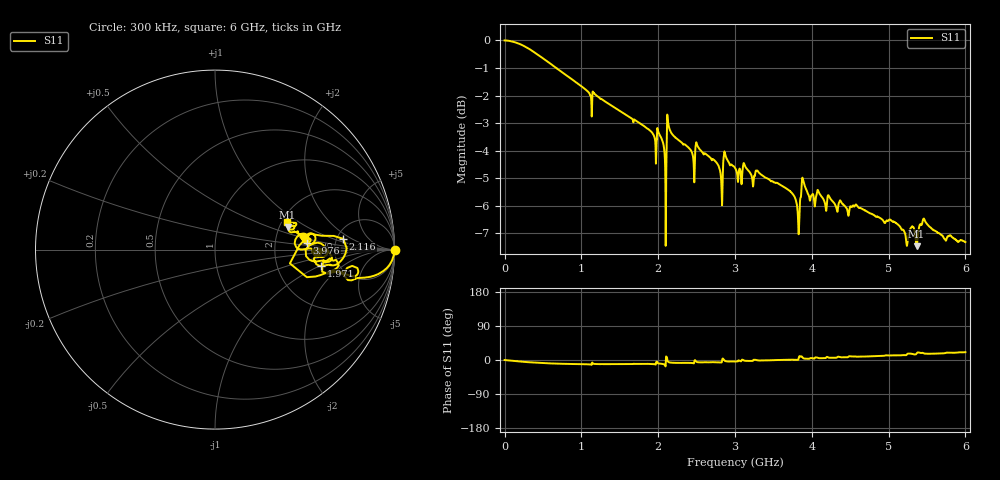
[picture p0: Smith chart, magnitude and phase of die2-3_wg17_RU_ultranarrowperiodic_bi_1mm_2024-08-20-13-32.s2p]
!Keysight Technologies,P9374A,MY57304198,A.17.20.09
!Date: Tuesday, August 20, 2024 13:32:10
!Correction: S11(C  1-Port  )
!S21(C  1-Port  )
!S12(Off)
!S22(Off)
!S2P File: Measurements: S11, S21, S12, S22:
# Hz S  dB  R 50
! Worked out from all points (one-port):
!   6000 points, 300 kHz to 6 GHz, reference 50 ohm
!   lowest |S11| = -7.5 dB at 5.365 GHz (marker M1), VSWR 2.47, Z = 111 + j33.8 ohm
!   |S11| at or under -10 dB: nowhere
!   S11 on the Smith chart (normalised r, x): 300 kHz: open; 1.971 GHz: 3.67, -1.02; 2.116 GHz: 5.71, +1.41; 3.976 GHz: 3.07, +0.31; 6 GHz: 2.15, +0.80
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300000  0.00 -0.0  -200.00 45.0  -200.00 45.0  -200.00 45.0
4.323504e8  -0.52 -7.4  -200.00 45.0  -200.00 45.0  -200.00 45.0
1.000417e9  -1.66 -11.0  -200.00 45.0  -200.00 45.0  -200.00 45.0
1.97053e9  -4.47 -8.6  -200.00 45.0  -200.00 45.0  -200.00 45.0
2.000533e9  -3.30 -8.9  -200.00 45.0  -200.00 45.0  -200.00 45.0
2.066541e9  -3.75 -10.9  -200.00 45.0  -200.00 45.0  -200.00 45.0
2.082543e9  -4.08 -12.3  -200.00 45.0  -200.00 45.0  -200.00 45.0
2.115547e9  -2.89 4.8  -200.00 45.0  -200.00 45.0  -200.00 45.0
2.14355e9  -3.17 -6.1  -200.00 45.0  -200.00 45.0  -200.00 45.0
2.449586e9  -4.15 -8.2  -200.00 45.0  -200.00 45.0  -200.00 45.0
2.513593e9  -3.83 -5.8  -200.00 45.0  -200.00 45.0  -200.00 45.0
2.797626e9  -4.63 -6.2  -200.00 45.0  -200.00 45.0  -200.00 45.0
2.859634e9  -4.07 0.0  -200.00 45.0  -200.00 45.0  -200.00 45.0
3.00065e9  -4.63 -3.9  -200.00 45.0  -200.00 45.0  -200.00 45.0
3.795743e9  -5.82 0.5  -200.00 45.0  -200.00 45.0  -200.00 45.0
3.85975e9  -5.64 9.3  -200.00 45.0  -200.00 45.0  -200.00 45.0
3.975764e9  -5.81 4.1  -200.00 45.0  -200.00 45.0  -200.00 45.0
4.000767e9  -5.61 4.9  -200.00 45.0  -200.00 45.0  -200.00 45.0
5.000883e9  -6.52 12.4  -200.00 45.0  -200.00 45.0  -200.00 45.0
5.364926e9  -7.46 17.2  -200.00 45.0  -200.00 45.0  -200.00 45.0
5.474939e9  -6.55 16.7  -200.00 45.0  -200.00 45.0  -200.00 45.0
6e9  -7.31 20.5  -200.00 45.0  -200.00 45.0  -200.00 45.0
